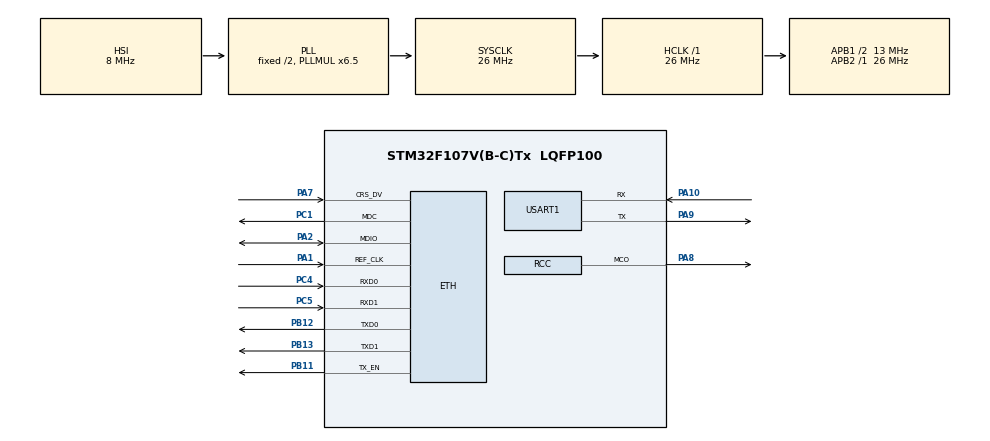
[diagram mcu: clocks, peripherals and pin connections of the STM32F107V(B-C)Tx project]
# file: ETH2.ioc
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ETH.ChecksumMode=ETH_CHECKSUM_BY_SOFTWARE
ETH.MediaInterface=ETH_MEDIA_INTERFACE_RMII
ETH.PHY_Name_RMII=userPHY
ETH.PhyAddress=0
LWIP.CHECKSUM_CHECK_ICMP=1
LWIP.CHECKSUM_GEN_ICMP=1
LWIP.CHECKSUM_GEN_ICMP6=1
LWIP.CHECKSUM_GEN_IP=1
LWIP.CHECKSUM_GEN_TCP=1
LWIP.CHECKSUM_GEN_UDP=1
LWIP.GATEWAY_ADDRESS=192.168.178.001
LWIP.IP_ADDRESS=192.168.178.222
LWIP.LWIP_BROADCAST_PING=1
LWIP.LWIP_DHCP=0
LWIP.LWIP_MULTICAST_PING=1
LWIP.LWIP_NETBUF_RECVINFO=1
LWIP.LWIP_NETIF_STATUS_CALLBACK=1
LWIP.LWIP_UDPLITE=1
LWIP.MEM_SIZE=10*1024
LWIP.NETMASK_ADDRESS=255.255.255.000
LWIP.Version=v2.0.3_Cube
Mcu.Family=STM32F1
Mcu.Name=STM32F107V(B-C)Tx
Mcu.Package=LQFP100
NVIC.ETH_IRQn=true\:0\:0\:false\:false\:true\:true\:true\:true
NVIC.ETH_WKUP_IRQn=true\:0\:0\:false\:false\:true\:true\:true\:true
NVIC.PriorityGroup=NVIC_PRIORITYGROUP_4
NVIC.TIM2_IRQn=true\:15\:0\:false\:false\:true\:false\:true\:true
NVIC.TimeBase=TIM2_IRQn
NVIC.TimeBaseIP=TIM2
OSC_IN.Mode=HSE-External-Oscillator
OSC_IN.Signal=RCC_OSC_IN
OSC_OUT.Mode=HSE-External-Oscillator
OSC_OUT.Signal=RCC_OSC_OUT
PA1.Mode=RMII
PA1.Signal=ETH_REF_CLK
PA10.Mode=Asynchronous
PA10.Signal=USART1_RX
PA13.Mode=Serial_Wire
PA13.Signal=SYS_JTMS-SWDIO
PA14.Mode=Serial_Wire
PA14.Signal=SYS_JTCK-SWCLK
PA2.Mode=RMII
PA2.Signal=ETH_MDIO
PA7.Mode=RMII
PA7.Signal=ETH_CRS_DV
PA8.GPIO_Speed=GPIO_SPEED_FREQ_HIGH
PA8.Mode=Clock-out
PA8.Signal=RCC_MCO
PA9.Mode=Asynchronous
PA9.Signal=USART1_TX
PB11.Mode=RMII
PB11.Signal=ETH_TX_EN
PB12.Mode=RMII
PB12.Signal=ETH_TXD0
PB13.Mode=RMII
PB13.Signal=ETH_TXD1
PB5.Signal=ETH_PPS_OUT
PC1.Mode=RMII
PC1.Signal=ETH_MDC
PC4.Mode=RMII
PC4.Signal=ETH_RXD0
PC5.Mode=RMII
PC5.Signal=ETH_RXD1
ProjectManager.HeapSize=0x200
ProjectManager.StackSize=0x400
ProjectManager.TargetToolchain=Makefile
RCC.AHBFreq_Value=26000000
RCC.APB1CLKDivider=RCC_HCLK_DIV2
RCC.APB1Freq_Value=13000000
RCC.APB1TimFreq_Value=26000000
RCC.APB2Freq_Value=26000000
RCC.APB2TimFreq_Value=26000000
RCC.HCLKFreq_Value=26000000
RCC.HSEDivPLL=RCC_HSE_PREDIV_DIV5
RCC.HSE_VALUE=25000000
RCC.PLL2Mul=RCC_PLL2_MUL10
RCC.PLL3Mul=RCC_PLLI2S_MUL10
RCC.PLLMUL=RCC_PLL_MUL6_5
RCC.Prediv1Source=RCC_PREDIV1_SOURCE_PLL2
RCC.Prediv2=RCC_HSE_PREDIV2_DIV5
RCC.RCC_MCOSource=RCC_MCO1SOURCE_PLL3CLK
RCC.SYSCLKFreq_VALUE=26000000
RCC.SYSCLKSource=RCC_SYSCLKSOURCE_PLLCLK
RCC.USBFreq_Value=17333333.333333332
USART1.VirtualMode=VM_ASYNC
VP_LWIP_VS_Enabled.Mode=Enabled
VP_SYS_VS_tim2.Mode=TIM2
board=custom

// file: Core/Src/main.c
/* USER CODE BEGIN Header */
/**
 ******************************************************************************
 * @file           : main.c
 * @brief          : Main program body
 ******************************************************************************
 * @attention
 *
 * Copyright (c) 2023 STMicroelectronics.
 * All rights reserved.
 *
 * This software is licensed under terms that can be found in the LICENSE file
 * in the root directory of this software component.
 * If no LICENSE file comes with this software, it is provided AS-IS.
 *
 ******************************************************************************
 */
/* USER CODE END Header */
#include "main.h"
#include "lwip.h"
#include "usart.h"
#include "gpio.h"

void SystemClock_Config(void);

/* USER CODE BEGIN 0 */
extern struct netif gnetif;
extern struct netif *netif_default;
/* USER CODE END 0 */

int main(void)
{

  /* MCU Configuration--------------------------------------------------------*/

  /* Reset of all peripherals, Initializes the Flash interface and the Systick. */
  HAL_Init();

  /* Configure the system clock */
  SystemClock_Config();

  /* Initialize all configured peripherals */
  MX_GPIO_Init();
  MX_USART1_UART_Init();
  MX_LWIP_Init();
  /* USER CODE BEGIN 2 */
  udpServer_init();
  udpClient_connect();

  /* USER CODE END 2 */

  int i = 0;
  uint32_t regLast=0;

  /* Infinite loop */
	while (1)
  {

    /* USER CODE BEGIN 3 */
		MX_LWIP_Process();
		ethernetif_input(&gnetif);
		ethernetif_set_link(netif_default);
		sys_check_timeouts();

    if (i == 10000)
    {
      uint32_t reg = LL_GPIO_ReadInputPort(GPIOE);

      if(regLast != reg)
      {
          regLast = reg;
          udpClient_send(reg);
      }
      i = 0;
    }
    i++;
  }

  /* USER CODE END 3 */
}

void SystemClock_Config(void)
{
  RCC_OscInitTypeDef RCC_OscInitStruct = {0};
  RCC_ClkInitTypeDef RCC_ClkInitStruct = {0};

  /** Initializes the RCC Oscillators according to the specified parameters
  * in the RCC_OscInitTypeDef structure.
  */
  RCC_OscInitStruct.OscillatorType = RCC_OSCILLATORTYPE_HSI|RCC_OSCILLATORTYPE_HSE;
  RCC_OscInitStruct.HSEState = RCC_HSE_ON;
  RCC_OscInitStruct.HSIState = RCC_HSI_ON;
  RCC_OscInitStruct.HSICalibrationValue = RCC_HSICALIBRATION_DEFAULT;
  RCC_OscInitStruct.Prediv1Source = RCC_PREDIV1_SOURCE_PLL2;
  RCC_OscInitStruct.PLL.PLLState = RCC_PLL_ON;
  RCC_OscInitStruct.PLL.PLLSource = RCC_PLLSOURCE_HSI_DIV2;
  RCC_OscInitStruct.PLL.PLLMUL = RCC_PLL_MUL6_5;
  RCC_OscInitStruct.PLL2.PLL2State = RCC_PLL_NONE;
  RCC_OscInitStruct.PLL2.HSEPrediv2Value = RCC_HSE_PREDIV2_DIV5;
  if (HAL_RCC_OscConfig(&RCC_OscInitStruct) != HAL_OK)
  {
    Error_Handler();
  }

  /** Initializes the CPU, AHB and APB buses clocks
  */
  RCC_ClkInitStruct.ClockType = RCC_CLOCKTYPE_HCLK|RCC_CLOCKTYPE_SYSCLK
                              |RCC_CLOCKTYPE_PCLK1|RCC_CLOCKTYPE_PCLK2;
  RCC_ClkInitStruct.SYSCLKSource = RCC_SYSCLKSOURCE_PLLCLK;
  RCC_ClkInitStruct.AHBCLKDivider = RCC_SYSCLK_DIV1;
  RCC_ClkInitStruct.APB1CLKDivider = RCC_HCLK_DIV2;
  RCC_ClkInitStruct.APB2CLKDivider = RCC_HCLK_DIV1;

  if (HAL_RCC_ClockConfig(&RCC_ClkInitStruct, FLASH_LATENCY_1) != HAL_OK)
  {
    Error_Handler();
  }
  HAL_RCC_MCOConfig(RCC_MCO, RCC_MCO1SOURCE_PLL3CLK, RCC_MCODIV_1);

  /** Configure the Systick interrupt time
  */
  __HAL_RCC_HSE_PREDIV2_CONFIG(RCC_HSE_PREDIV2_DIV5);

  /** Configure the Systick interrupt time
  */
  __HAL_RCC_PLLI2S_CONFIG(RCC_PLLI2S_MUL10);

  /** Configure the Systick interrupt time
  */
  __HAL_RCC_PLLI2S_ENABLE();
}

void HAL_TIM_PeriodElapsedCallback(TIM_HandleTypeDef *htim)
{
  if (htim->Instance == TIM2) {
    HAL_IncTick();
  }
}

void Error_Handler(void)
{
	__disable_irq();
	while (1) {
	}
}
